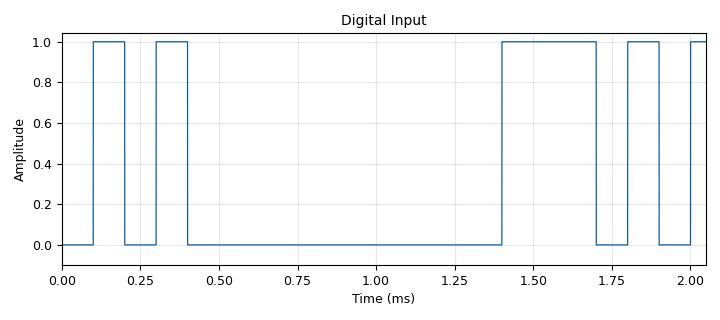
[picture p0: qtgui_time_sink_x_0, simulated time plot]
<?xml version='1.0' encoding='utf-8'?>
<?grc format='1' created='3.7.11'?>
<flow_graph>
<block>
<key>options</key>
<param><key>id</key><value>top_block</value></param>
<param><key>description</key><value>Create a vector of 1's and 0's with a 100 microsecond pulse width</value></param>
<param><key>generate_options</key><value>qt_gui</value></param>
</block>
<block>
<key>variable</key>
<param><key>id</key><value>samp_rate</value></param>
<param><key>value</key><value>8e6</value></param>
</block>
<block>
<key>blocks_repeat</key>
<param><key>id</key><value>blocks_repeat_0</value></param>
<param><key>interp</key><value>800</value></param>
<param><key>type</key><value>float</value></param>
</block>
<block>
<key>blocks_vector_source_x</key>
<param><key>id</key><value>blocks_vector_source_x_0</value></param>
<param><key>type</key><value>float</value></param>
<param><key>repeat</key><value>True</value></param>
<param><key>vector</key><value>(0, 1,1,1,0,1,0,1,0,1,0,0,0,0,0,0,0,0,0)</value></param>
</block>
<block>
<key>note</key>
<param><key>id</key><value>note_repeat</value></param>
<param><key>comment</key><value>The interpolation rate is set at 800.

The sample rate is 8 MHz.

Sample period is 1/8 MHz = 0.125 microseconds

Repeating the input 800 times results in a 
pulse length of 100 microseconds.

This gives us a nice square wave. Without the
repeat block, we have a series of spikes when at 
the transition from 0 to 1 when the rate is 8 MHz.</value></param>
<param><key>note</key><value>Repeats signal 800 times</value></param>
</block>
<block>
<key>qtgui_time_sink_x</key>
<param><key>id</key><value>qtgui_time_sink_x_0</value></param>
<param><key>comment</key><value>Number of Points: 16384 allows us to see more 
data points than the 1024 default.

Y min: -0.1 gets rid of wasted space on the Y axis.
Our signal never goes below 0.

Trigger Delay: 100e-6 allows us to see the start
of the waveform.</value></param>
<param><key>color1</key><value>"blue"</value></param>
<param><key>label1</key><value></value></param>
<param><key>name</key><value>"Digital Input"</value></param>
<param><key>size</key><value>16384</value></param>
<param><key>srate</key><value>samp_rate</value></param>
<param><key>tr_delay</key><value>100e-6</value></param>
<param><key>tr_level</key><value>0.5</value></param>
<param><key>tr_mode</key><value>qtgui.TRIG_MODE_AUTO</value></param>
<param><key>type</key><value>float</value></param>
<param><key>ymin</key><value>-0.1</value></param>
</block>
<connection><source_block_id>blocks_repeat_0</source_block_id><sink_block_id>qtgui_time_sink_x_0</sink_block_id><source_key>0</source_key><sink_key>0</sink_key></connection>
<connection><source_block_id>blocks_vector_source_x_0</source_block_id><sink_block_id>blocks_repeat_0</sink_block_id><source_key>0</source_key><sink_key>0</sink_key></connection>
</flow_graph>
